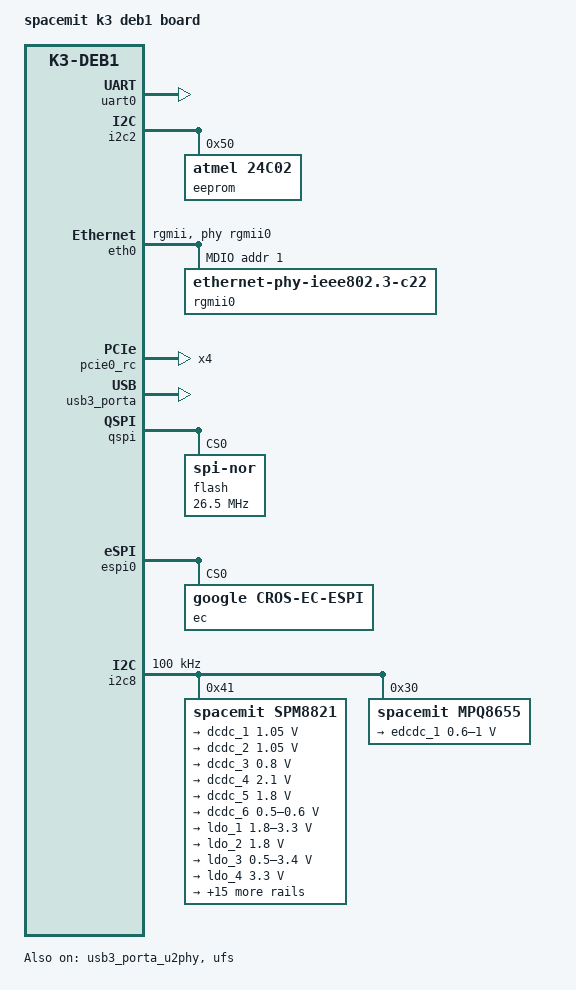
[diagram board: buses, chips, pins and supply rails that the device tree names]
// SPDX-License-Identifier: GPL-2.0
/*
 * finch board's base device tree configure.
 *
 * Copyright (C) 2025 SPACEMIT Micro Limited
 */

#include "k3.dtsi"
#include "k3-pinctrl.dtsi"

/ {
	model = "spacemit k3 deb1 board";
};

&cpus {
	timebase-frequency = <24000000>;
	clocks = <&ccu CLK_TOP_DCLK>,
		 <&ccu CLK_AXICLK>,
		 <&ccu CLK_CCI550>,
		 <&ccu CLK_CPU_C0_CORE>,
		 <&ccu CLK_CPU_C1_CORE>,
		 <&ccu CLK_CPU_C2_CORE>,
		 <&ccu CLK_CPU_C3_CORE>;
	clock-names = "topd", "axi", "cci", "cluster0", "cluster1", "cluster2", "cluster3";
	topd_frequency = <800000000>;
	axi_frequency =  <307000000>;
	cci_frequency =  <1000000000>;
	cluster0_frequency = <2200000000>;
	cluster1_frequency = <2200000000>;
	cluster2_frequency = <1200000000>;
	cluster3_frequency = <1200000000>;
};

&pinctrl {
	gmac0_grp {
		power-source = <1800>;
	};

	pcie0_1_grp {
		pinctrl-single,pins =<
			K3_PADCONF(GPIO_79, MUX_MODE5, (EDGE_NONE | PULL_UP | PAD_DS15))
			K3_PADCONF(GPIO_81, MUX_MODE5, (EDGE_NONE | PULL_UP | PAD_DS15))
		>;

		power-source = <1800>;
	};

	espi0_grp {
		power-source = <1800>;
	};
};

&uart0 {
	status = "okay";
};

&i2c2 {
	#address-cells = <1>;
	#size-cells = <0>;
	pinctrl-names = "default";
	pinctrl-0 = <&pinctrl_i2c2_1>;
	status = "okay";

	eeprom@50{
		compatible = "atmel,24c02";
		reg = <0x50>;
		status = "okay";
	};
};

&eth0 {
	pinctrl-names = "default";
	pinctrl-0 = <&pinctrl_gmac0>;

	phy-reset-pin = <15>;
	max-speed = <1000>;
	clk_tuning_enable;
	clk-tuning-by-delayline;

	tx-phase = <73>;
	rx-phase = <61>;

	phy-mode = "rgmii";
	phy-addr = <0>;
	phy-handle = <&rgmii0>;

	status = "okay";

	mdio {
		#address-cells = <0x1>;
		#size-cells = <0x0>;
		rgmii0: phy@0 {
			compatible = "ethernet-phy-ieee802.3-c22";
			device_type = "ethernet-phy";
			reg = <0x1>;
		};
	};
};

&pcie0_rc {
       pinctrl-names = "default";
       pinctrl-0 = <&pinctrl_pcie0_1>;
       num-lanes = <4>;

       status = "okay";
};

&usb3_porta_u2phy {
	status = "okay";
};

&usb3_porta {
	status = "okay";
	u-boot,dm-spl;
	dwc3@cad00000 {
		dr_mode = "peripheral";
		maximum-speed = "high-speed";
		phy_type = "utmi";
		snps,dis_enblslpm_quirk;
		snps,dis_u2_susphy_quirk;
		snps,dis_u3_susphy_quirk;
		u-boot,dm-spl;
	};
};

&ufs {
	status = "okay";
};

&qspi {
	status = "okay";

	flash@0 {
		compatible = "jedec,spi-nor";
		reg = <0>;
		spi-max-frequency = <26500000>;
		m25p,fast-read;
		broken-flash-reset;
		status = "okay";
	};
};

&espi0{
	status = "okay";

	ec: ec@0 {
		compatible = "google,cros-ec-espi";
		reg = <0x0>;

		/* eSPI VW GPIO interrupt configuration */
		espi-vw-gpio-wire = <0>;       /* Wire 0 within the group */
		espi-vw-gpio-index = <0x82>;   /* VM index 0x82 (Group 2/130) */
		i2c_tunnel: i2c-tunnel {
			compatible = "google,cros-ec-i2c-tunnel";
			#address-cells = <1>;
			#size-cells = <0>;
			google,remote-bus = <1>;

		};
	};
};

&i2c8 {
	clock-frequency = <100000>;
	u-boot,dm-spl;
	status = "okay";

	spm8821: pmic@41 {
		compatible = "spacemit,spm8821";
		reg = <0x41>;
		bus = <8>;
		u-boot,dm-spl;

		regulators {
			/* buck */
			dcdc_1: DCDC_REG1 {
				regulator-name = "dcdc1";
				regulator-min-microvolt = <1050000>;
				regulator-max-microvolt = <1050000>;
				/* regulator-init-microvolt = <1050000>; */
				regulator-always-on;
				regulator-boot-on;
				u-boot,dm-spl;
			};

			dcdc_2: DCDC_REG2 {
				regulator-name = "dcdc2";
				regulator-min-microvolt = <1050000>;
				regulator-max-microvolt = <1050000>;
				regulator-always-on;
				regulator-boot-on;
			};

			dcdc_3: DCDC_REG3 {
				regulator-name = "dcdc3";
				regulator-min-microvolt = <800000>;
				regulator-max-microvolt = <800000>;
				regulator-always-on;
				regulator-boot-on;
				u-boot,dm-spl;
			};

			dcdc_4: DCDC_REG4 {
				regulator-name = "dcdc4";
				regulator-min-microvolt = <2100000>;
				regulator-max-microvolt = <2100000>;
				regulator-always-on;
				regulator-boot-on;
			};

			dcdc_5: DCDC_REG5 {
				regulator-name = "dcdc5";
				regulator-min-microvolt = <1800000>;
				regulator-max-microvolt = <1800000>;
				regulator-always-on;
				regulator-boot-on;
			};

			dcdc_6: DCDC_REG6 {
				regulator-name = "dcdc6";
				regulator-min-microvolt = <500000>;
				regulator-max-microvolt = <600000>;
				regulator-always-on;
				regulator-boot-on;
			};

			/* aldo */
			ldo_1: LDO_REG1 {
				regulator-name = "ldo1";
				regulator-min-microvolt = <1800000>;
				regulator-max-microvolt = <3300000>;
				/* regulator-init-microvolt = <3300000>; */
				regulator-always-on;
				regulator-boot-on;
				u-boot,dm-spl;
			};

			ldo_2: LDO_REG2 {
				regulator-name = "ldo2";
				regulator-min-microvolt = <1800000>;
				regulator-max-microvolt = <1800000>;
				regulator-always-on;
				regulator-boot-on;
			};

			ldo_3: LDO_REG3 {
				regulator-name = "ldo3";
				regulator-min-microvolt = <500000>;
				regulator-max-microvolt = <3400000>;
			};

			ldo_4: LDO_REG4 {
				regulator-name = "ldo4";
				regulator-min-microvolt = <3300000>;
				regulator-max-microvolt = <3300000>;
				regulator-always-on;
				regulator-boot-on;
			};

			/* dldo */
			ldo_5: LDO_REG5 {
				regulator-name = "ldo5";
				regulator-min-microvolt = <1200000>;
				regulator-max-microvolt = <1200000>;
				regulator-always-on;
				regulator-boot-on;
			};

			ldo_6: LDO_REG6 {
				regulator-name = "ldo6";
				regulator-min-microvolt = <900000>;
				regulator-max-microvolt = <900000>;
				regulator-always-on;
				regulator-boot-on;
			};

			ldo_7: LDO_REG7 {
				regulator-name = "ldo7";
				regulator-min-microvolt = <800000>;
				regulator-max-microvolt = <800000>;
				regulator-always-on;
				regulator-boot-on;
			};

			ldo_8: LDO_REG8 {
				regulator-name = "ldo8";
				regulator-min-microvolt = <1800000>;
				regulator-max-microvolt = <1800000>;
				regulator-boot-on;
			};

			ldo_9: LDO_REG9 {
				regulator-name = "ldo9";
				regulator-min-microvolt = <1800000>;
				regulator-max-microvolt = <1800000>;
				regulator-always-on;
				regulator-boot-on;
			};

			ldo_10: LDO_REG10 {
				regulator-name = "ldo10";
				regulator-min-microvolt = <1800000>;
				regulator-max-microvolt = <1800000>;
				regulator-always-on;
				regulator-boot-on;
			};

			ldo_11: LDO_REG11 {
				regulator-name = "ldo11";
				regulator-min-microvolt = <1800000>;
				regulator-max-microvolt = <1800000>;
				regulator-always-on;
				regulator-boot-on;
			};

			sw_2: SWITCH_REG1 {
				regulator-name = "switch1";
			};

			power_event: SWITCH_REG2 {
				regulator-name = "pwr-event";
			};

			power_int: SWITCH_REG3 {
				regulator-name = "pwr-int";
			};

			rtc_ctrl: SWITCH_REG4 {
				regulator-name = "rtc-ctrl";
			};

			rtc_event: SWITCH_REG5 {
				regulator-name = "rtc-event";
			};

			rtc_irq: SWITCH_REG6 {
				regulator-name = "rtc-irq";
			};

			power_down: SWITCH_REG7 {
				regulator-name = "power-down";
			};

			reboot_flag: SWITCH_REG8 {
				regulator-name = "reboot-flag";
			};

			wdt_pm8821: PMIC_WDT {
				wdt-name = "wdt_pm8821";
			};
		};
	};

	mpq8655: mpq8655@30 {
		compatible = "spacemit,mpq8655";
		reg = <0x30>;
		bus = <8>;
		u-boot,dm-spl;

		regulators {
			u-boot,dm-spl;

			edcdc_1: EDCDC_REG1 {
				regulator-name = "edcdc1";
				regulator-min-microvolt = <600000>;
				regulator-max-microvolt = <1000000>;
				regulator-init-microvolt = <880000>;
				regulator-always-on;
				regulator-boot-on;
				u-boot,dm-spl;
			};
		};
	};
};
